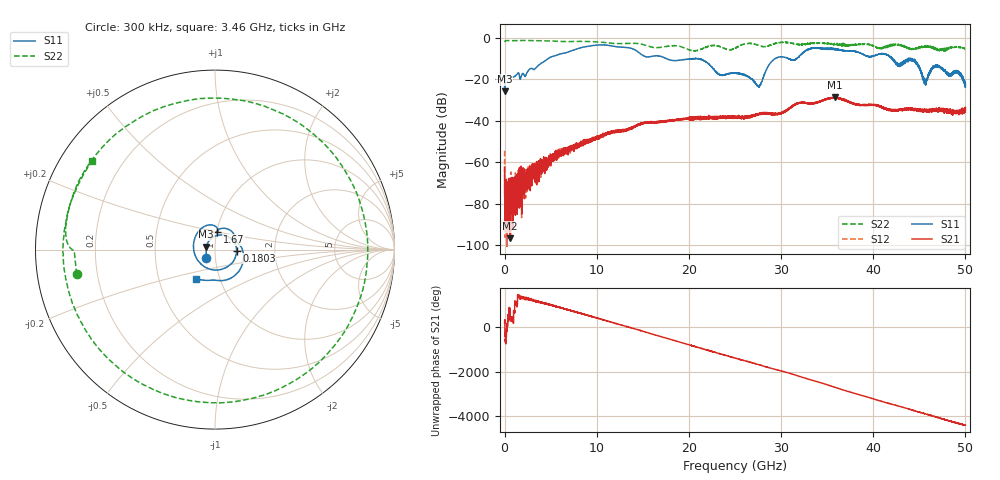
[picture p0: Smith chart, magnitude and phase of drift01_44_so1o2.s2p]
!Created with skrf (http://scikit-rf.org).
# Hz S RI R 50.0
!freq ReS11 ImS11 ReS21 ImS21 ReS12 ImS12 ReS22 ImS22
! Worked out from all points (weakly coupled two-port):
!   10001 points, 300 kHz to 50 GHz, reference 50 ohm
!   highest |S21| = -28.81 dB at 35.8 GHz (marker M1); lowest = -96.7 dB at 595.3 MHz (marker M2)
!   lowest |S11| = -25.9 dB at 5.3 MHz (marker M3), VSWR 1.11, Z = 45.4 + j1.41 ohm
!   |S11| at or under -10 dB: start of sweep to 4.767 GHz; 17.51 GHz to 29.4 GHz (11.89 GHz wide, 50.7 % of centre); 44.04 GHz to end of sweep (the widest 3 of 14)
!   |S22| runs from -6.6 to -1.4 dB; largest |S21 - S12| = 0.0047
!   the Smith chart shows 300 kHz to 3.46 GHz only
!   S11 on the Smith chart (normalised r, x): 300 kHz: 0.90, -0.08; 180.3 MHz: 1.27, -0.01; 1.67 GHz: 1.01, +0.20; 3.46 GHz: 0.77, -0.26
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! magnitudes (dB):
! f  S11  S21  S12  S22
! 300 kHz  -23.5  -62.3  -54.5  -2.1
! 5.3 MHz  -25.9  -74.2  -76.4  -2.1
! 180.3 MHz  -18.4  -75.2  -75.0  -1.4
! 595.3 MHz  -18.8  -96.7  -73.1  -1.5
! 1.67 GHz  -20.1  -74.5  -64.8  -1.4
! 3.46 GHz  -14.3  -64.6  -60.4  -1.5
! 8.335 GHz  -4.8  -50.7  -50.5  -1.8
! 16.67 GHz  -8.7  -40.9  -40.6  -4.8
! 21.2 GHz  -10.3  -38.2  -39.0  -5.8
! 23.36 GHz  -17.9  -38.8  -38.6  -4.4
! 25 GHz  -17.1  -38.4  -38.5  -5.1
! 27.59 GHz  -23.8  -36.8  -36.8  -3.9
! 29.28 GHz  -10.3  -36.7  -36.6  -2.8
! 31.45 GHz  -10.9  -32.4  -32.5  -3.0
! 33.34 GHz  -5.1  -31.6  -31.7  -2.7
! 35.8 GHz  -5.6  -28.8  -28.9  -3.2
! 41.67 GHz  -8.9  -34.4  -35.0  -4.4
! 42.74 GHz  -12.8  -34.8  -34.7  -3.3
! 44.41 GHz  -11.2  -35.0  -34.3  -5.3
! 45.63 GHz  -21.6  -35.0  -35.3  -4.2
! 46.89 GHz  -13.7  -34.8  -34.6  -5.4
! 50 GHz  -22.2  -34.0  -35.7  -5.4
